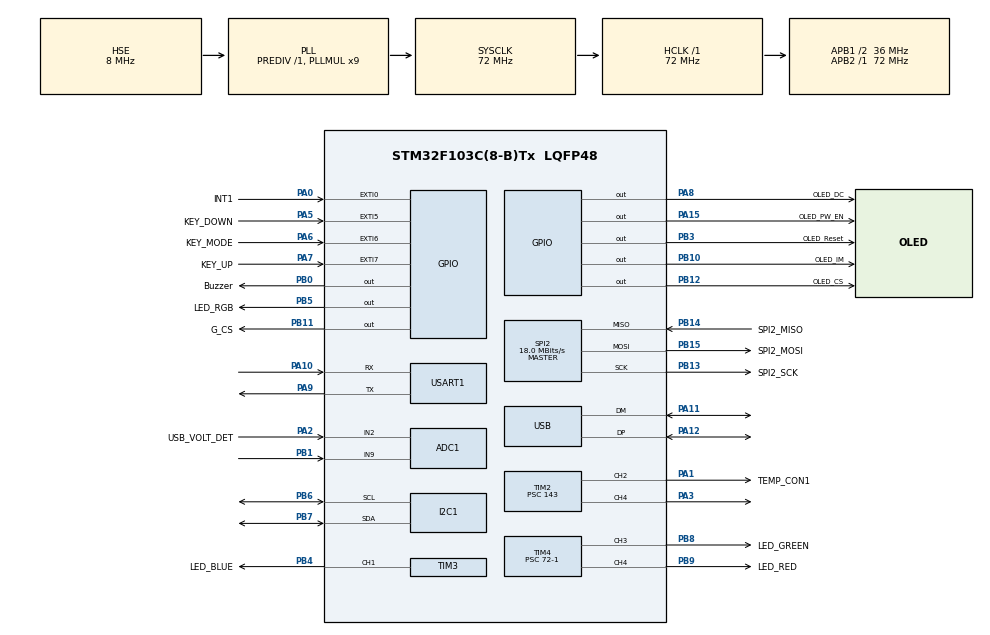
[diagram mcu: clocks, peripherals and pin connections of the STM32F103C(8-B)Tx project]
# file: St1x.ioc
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ADC1.Channel-0\#ChannelRegularConversion=ADC_CHANNEL_9
ADC1.Channel-1\#ChannelRegularConversion=ADC_CHANNEL_2
ADC1.ContinuousConvMode=DISABLE
ADC1.ExternalTrigConv=ADC_SOFTWARE_START
ADC1.NbrOfConversion=2
ADC1.NbrOfConversionFlag=1
ADC1.Rank-0\#ChannelRegularConversion=1
ADC1.Rank-1\#ChannelRegularConversion=2
ADC1.SamplingTime-0\#ChannelRegularConversion=ADC_SAMPLETIME_55CYCLES_5
ADC1.SamplingTime-1\#ChannelRegularConversion=ADC_SAMPLETIME_55CYCLES_5
ADC1.master=1
Dma.ADC1.0.Direction=DMA_PERIPH_TO_MEMORY
Dma.ADC1.0.Instance=DMA1_Channel1
Dma.ADC1.0.MemDataAlignment=DMA_MDATAALIGN_HALFWORD
Dma.ADC1.0.MemInc=DMA_MINC_ENABLE
Dma.ADC1.0.Mode=DMA_CIRCULAR
Dma.ADC1.0.PeriphDataAlignment=DMA_PDATAALIGN_HALFWORD
Dma.ADC1.0.PeriphInc=DMA_PINC_DISABLE
Dma.ADC1.0.Priority=DMA_PRIORITY_HIGH
Dma.I2C1_RX.3.Direction=DMA_PERIPH_TO_MEMORY
Dma.I2C1_RX.3.Instance=DMA1_Channel7
Dma.I2C1_RX.3.MemDataAlignment=DMA_MDATAALIGN_BYTE
Dma.I2C1_RX.3.MemInc=DMA_MINC_ENABLE
Dma.I2C1_RX.3.Mode=DMA_CIRCULAR
Dma.I2C1_RX.3.PeriphDataAlignment=DMA_PDATAALIGN_BYTE
Dma.I2C1_RX.3.PeriphInc=DMA_PINC_DISABLE
Dma.I2C1_RX.3.Priority=DMA_PRIORITY_LOW
Dma.Request0=ADC1
Dma.Request1=SPI2_TX
Dma.Request2=SPI2_RX
Dma.Request3=I2C1_RX
Dma.SPI2_RX.2.Direction=DMA_PERIPH_TO_MEMORY
Dma.SPI2_RX.2.Instance=DMA1_Channel4
Dma.SPI2_RX.2.MemDataAlignment=DMA_MDATAALIGN_BYTE
Dma.SPI2_RX.2.MemInc=DMA_MINC_ENABLE
Dma.SPI2_RX.2.Mode=DMA_NORMAL
Dma.SPI2_RX.2.PeriphDataAlignment=DMA_PDATAALIGN_BYTE
Dma.SPI2_RX.2.PeriphInc=DMA_PINC_DISABLE
Dma.SPI2_RX.2.Priority=DMA_PRIORITY_LOW
Dma.SPI2_TX.1.Direction=DMA_MEMORY_TO_PERIPH
Dma.SPI2_TX.1.Instance=DMA1_Channel5
Dma.SPI2_TX.1.MemDataAlignment=DMA_MDATAALIGN_BYTE
Dma.SPI2_TX.1.MemInc=DMA_MINC_ENABLE
Dma.SPI2_TX.1.Mode=DMA_NORMAL
Dma.SPI2_TX.1.PeriphDataAlignment=DMA_PDATAALIGN_BYTE
Dma.SPI2_TX.1.PeriphInc=DMA_PINC_DISABLE
Dma.SPI2_TX.1.Priority=DMA_PRIORITY_LOW
I2C1.I2C_Mode=I2C_Fast
Mcu.Family=STM32F1
Mcu.Name=STM32F103C(8-B)Tx
Mcu.Package=LQFP48
NVIC.ADC1_2_IRQn=true\:0\:0\:false\:false\:true\:true\:true\:true
NVIC.DMA1_Channel1_IRQn=true\:0\:0\:false\:false\:true\:false\:true\:true
NVIC.DMA1_Channel4_IRQn=true\:0\:0\:false\:false\:true\:false\:true\:true
NVIC.DMA1_Channel5_IRQn=true\:0\:0\:false\:false\:true\:false\:true\:true
NVIC.DMA1_Channel7_IRQn=true\:0\:0\:false\:false\:true\:false\:true\:true
NVIC.EXTI0_IRQn=true\:0\:0\:false\:false\:true\:true\:true\:true
NVIC.EXTI9_5_IRQn=true\:5\:0\:true\:false\:true\:true\:true\:true
NVIC.PriorityGroup=NVIC_PRIORITYGROUP_4
NVIC.TIM2_IRQn=true\:0\:0\:false\:false\:true\:true\:true\:true
PA0-WKUP.GPIO_Label=INT1
PA0-WKUP.GPIO_PuPd=GPIO_PULLUP
PA0-WKUP.Signal=GPXTI0
PA1.GPIO_Label=TEMP_CON1
PA1.GPIO_Speed=GPIO_SPEED_FREQ_HIGH
PA1.Signal=S_TIM2_CH2
PA10.Mode=Asynchronous
PA10.Signal=USART1_RX
PA11.Mode=Device
PA11.Signal=USB_DM
PA12.Mode=Device
PA12.Signal=USB_DP
PA13.Mode=Serial_Wire
PA13.Signal=SYS_JTMS-SWDIO
PA14.Mode=Serial_Wire
PA14.Signal=SYS_JTCK-SWCLK
PA15.GPIO_Label=OLED_PW_EN
PA15.PinState=GPIO_PIN_SET
PA15.Signal=GPIO_Output
PA2.GPIO_Label=USB_VOLT_DET
PA2.Signal=ADCx_IN2
PA3.Signal=S_TIM2_CH4
PA5.GPIO_Label=KEY_DOWN
PA5.GPIO_ModeDefaultEXTI=GPIO_MODE_IT_FALLING
PA5.GPIO_PuPd=GPIO_PULLUP
PA5.Signal=GPXTI5
PA6.GPIO_Label=KEY_MODE
PA6.GPIO_ModeDefaultEXTI=GPIO_MODE_IT_FALLING
PA6.GPIO_PuPd=GPIO_PULLUP
PA6.Signal=GPXTI6
PA7.GPIO_Label=KEY_UP
PA7.GPIO_ModeDefaultEXTI=GPIO_MODE_IT_FALLING
PA7.GPIO_PuPd=GPIO_PULLUP
PA7.Signal=GPXTI7
PA8.GPIO_Label=OLED_DC
PA8.GPIO_Speed=GPIO_SPEED_FREQ_HIGH
PA8.Signal=GPIO_Output
PA9.Mode=Asynchronous
PA9.Signal=USART1_TX
PB0.GPIO_Label=Buzzer
PB0.GPIO_Speed=GPIO_SPEED_FREQ_HIGH
PB0.Signal=GPIO_Output
PB1.Signal=ADCx_IN9
PB10.GPIO_Label=OLED_IM
PB10.Signal=GPIO_Output
PB11.GPIO_Label=G_CS
PB11.GPIO_PuPd=GPIO_NOPULL
PB11.GPIO_Speed=GPIO_SPEED_FREQ_HIGH
PB11.PinState=GPIO_PIN_SET
PB11.Signal=GPIO_Output
PB12.GPIO_Label=OLED_CS
PB12.GPIO_Speed=GPIO_SPEED_FREQ_HIGH
PB12.PinState=GPIO_PIN_SET
PB12.Signal=GPIO_Output
PB13.GPIO_Label=SPI2_SCK
PB13.Mode=Full_Duplex_Master
PB13.Signal=SPI2_SCK
PB14.GPIO_Label=SPI2_MISO
PB14.Mode=Full_Duplex_Master
PB14.Signal=SPI2_MISO
PB15.GPIO_Label=SPI2_MOSI
PB15.Mode=Full_Duplex_Master
PB15.Signal=SPI2_MOSI
PB3.GPIO_Label=OLED_Reset
PB3.PinState=GPIO_PIN_SET
PB3.Signal=GPIO_Output
PB4.GPIO_Label=LED_BLUE
PB4.GPIO_ModeDefaultPP=GPIO_MODE_AF_OD
PB4.GPIO_Speed=GPIO_SPEED_FREQ_HIGH
PB4.Signal=S_TIM3_CH1
PB5.GPIO_Label=LED_RGB
PB5.Signal=GPIO_Output
PB6.Mode=I2C
PB6.Signal=I2C1_SCL
PB7.Mode=I2C
PB7.Signal=I2C1_SDA
PB8.GPIO_Label=LED_GREEN
PB8.GPIO_ModeDefaultPP=GPIO_MODE_AF_OD
PB8.GPIO_Speed=GPIO_SPEED_FREQ_HIGH
PB8.Signal=S_TIM4_CH3
PB9.GPIO_Label=LED_RED
PB9.GPIO_ModeDefaultPP=GPIO_MODE_AF_OD
PB9.GPIO_Speed=GPIO_SPEED_FREQ_HIGH
PB9.Signal=S_TIM4_CH4
PD0-OSC_IN.Mode=HSE-External-Oscillator
PD0-OSC_IN.Signal=RCC_OSC_IN
PD1-OSC_OUT.Mode=HSE-External-Oscillator
PD1-OSC_OUT.Signal=RCC_OSC_OUT
ProjectManager.HeapSize=0x200
ProjectManager.StackSize=0x400
ProjectManager.TargetToolchain=STM32CubeIDE
RCC.ADCPresc=RCC_ADCPCLK2_DIV6
RCC.AHBFreq_Value=72000000
RCC.APB1CLKDivider=RCC_HCLK_DIV2
RCC.APB1Freq_Value=36000000
RCC.APB1TimFreq_Value=72000000
RCC.APB2Freq_Value=72000000
RCC.APB2TimFreq_Value=72000000
RCC.HCLKFreq_Value=72000000
RCC.PLLMUL=RCC_PLL_MUL9
RCC.PLLSourceVirtual=RCC_PLLSOURCE_HSE
RCC.SYSCLKFreq_VALUE=72000000
RCC.SYSCLKSource=RCC_SYSCLKSOURCE_PLLCLK
RCC.USBFreq_Value=48000000
RCC.USBPrescaler=RCC_USBCLKSOURCE_PLL_DIV1_5
SH.ADCx_IN2.0=ADC1_IN2,IN2
SH.ADCx_IN9.0=ADC1_IN9,IN9
SH.S_TIM2_CH2.0=TIM2_CH2,PWM Generation2 CH2
SH.S_TIM2_CH4.0=TIM2_CH4,PWM Generation4 CH4
SH.S_TIM3_CH1.0=TIM3_CH1,PWM Generation1 CH1
SH.S_TIM4_CH3.0=TIM4_CH3,PWM Generation3 CH3
SH.S_TIM4_CH4.0=TIM4_CH4,PWM Generation4 CH4
SPI2.BaudRatePrescaler=SPI_BAUDRATEPRESCALER_2
SPI2.CLKPolarity=SPI_POLARITY_LOW
SPI2.CalculateBaudRate=18.0 MBits/s
SPI2.Direction=SPI_DIRECTION_2LINES
SPI2.Mode=SPI_MODE_MASTER
SPI2.VirtualType=VM_MASTER
TIM2.Channel-PWM\ Generation2\ CH2=TIM_CHANNEL_2
TIM2.Channel-PWM\ Generation4\ CH4=TIM_CHANNEL_4
TIM2.OCMode_PWM-PWM\ Generation4\ CH4=TIM_OCMODE_PWM2
TIM2.Period=10000
TIM2.Prescaler=143
TIM2.Pulse-PWM\ Generation4\ CH4=9500
TIM2.TIM_MasterOutputTrigger=TIM_TRGO_RESET
TIM2.TIM_MasterSlaveMode=TIM_MASTERSLAVEMODE_DISABLE
TIM3.Channel-PWM\ Generation1\ CH1=TIM_CHANNEL_1
TIM3.OCMode_PWM-PWM\ Generation1\ CH1=TIM_OCMODE_PWM2
TIM3.OCPolarity_1=TIM_OCPOLARITY_HIGH
TIM3.Period=1500
TIM3.Prescaler=1
TIM3.Pulse-PWM\ Generation1\ CH1=0
TIM3.TIM_MasterOutputTrigger=TIM_TRGO_RESET
TIM3.TIM_MasterSlaveMode=TIM_MASTERSLAVEMODE_DISABLE
TIM4.Channel-PWM\ Generation3\ CH3=TIM_CHANNEL_3
TIM4.Channel-PWM\ Generation4\ CH4=TIM_CHANNEL_4
TIM4.OCMode_PWM-PWM\ Generation3\ CH3=TIM_OCMODE_PWM2
TIM4.OCMode_PWM-PWM\ Generation4\ CH4=TIM_OCMODE_PWM2
TIM4.Period=1000-1
TIM4.Prescaler=72-1
USART1.VirtualMode=VM_ASYNC
VP_TIM1_VS_ClockSourceINT.Mode=Internal
VP_TIM2_VS_ClockSourceINT.Mode=Internal
VP_TIM3_VS_ClockSourceINT.Mode=Internal
VP_TIM4_VS_ClockSourceINT.Mode=Internal
board=custom

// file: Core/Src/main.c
/* USER CODE BEGIN Header */
/**
  ******************************************************************************
  * @file           : main.c
  * @brief          : Main program body
  ******************************************************************************
  * @attention
  *
  * Copyright (c) 2023 STMicroelectronics.
  * All rights reserved.
  *
  * This software is licensed under terms that can be found in the LICENSE file
  * in the root directory of this software component.
  * If no LICENSE file comes with this software, it is provided AS-IS.
  *
  ******************************************************************************
  */
/* USER CODE END Header */
#include "main.h"
#include "adc.h"
#include "dma.h"
#include "i2c.h"
#include "spi.h"
#include "tim.h"
#include "usart.h"
#include "usb.h"
#include "gpio.h"

/* USER CODE BEGIN Includes */
#include "u8g2.h"
#include "u8g2_oled.h"
#include "St1xADC.h"
#include "bmp.h"
#include "lis2dw12.h"
#include "St1xPID.h"
#include "ws2812.h"
/* USER CODE END Includes */

/* USER CODE BEGIN PV */
// 定义u8g2全局变量
u8g2_t u8g2;
/* USER CODE END PV */

void SystemClock_Config(void);

/* USER CODE BEGIN 0 */
/*********开机时不让LED亮*********/
void LED_Init() {
    HAL_TIM_PWM_Start(&htim4, TIM_CHANNEL_3);
    HAL_TIM_PWM_Start(&htim4, TIM_CHANNEL_4);
    HAL_TIM_PWM_Start(&htim3, TIM_CHANNEL_1);
            __HAL_TIM_SetCompare(&htim4, TIM_CHANNEL_3, 0);//红色LED灯
            __HAL_TIM_SetCompare(&htim4, TIM_CHANNEL_4, 0);//绿色LED灯
            __HAL_TIM_SetCompare(&htim3, TIM_CHANNEL_1, 0);//蓝色LED灯
}

// 添加TIM2定时器中断回调函数
void HAL_TIM_PeriodElapsedCallback(TIM_HandleTypeDef *htim) {
    if (htim->Instance == TIM2) {
        heatingControlTimerCallback();  // 调用加热控制逻辑
    }
}

// 系统状态监控函数
void systemStatusMonitor(void) {
    static uint32_t last_status_check = 0;
    uint32_t current_time = HAL_GetTick();

    // 提高系统状态检查频率到每100ms一次，以确保安全
    if ((current_time - last_status_check) >= 100) {
        // 检查系统状态
        checkUSBVoltage();
        checkTemperatureSafety();
        last_status_check = current_time;
    }
}

// 声明外部变量
extern uint32_t initial_heating_end_time;
extern uint8_t heating_status;
/* USER CODE END 0 */

int main(void)
{

  /* MCU Configuration--------------------------------------------------------*/

  /* Reset of all peripherals, Initializes the Flash interface and the Systick. */
  HAL_Init();

  /* Configure the system clock */
  SystemClock_Config();

  /* Initialize all configured peripherals */
  MX_GPIO_Init();
  MX_DMA_Init();
  MX_ADC1_Init();
  MX_SPI2_Init();
  MX_TIM2_Init();
  MX_TIM3_Init();
  MX_USART1_UART_Init();
  MX_TIM4_Init();
  MX_TIM1_Init();
  MX_I2C1_Init();
  MX_USB_PCD_Init();
  /* USER CODE BEGIN 2 */

//    Reset_LED();          //复位RGB灯
    LED_Init();             //初始化RGB灯(防止初始化失败)
    spi_oled_Init(&u8g2);   //初始化OLED(SPI驱动)
    u8g2_DrawXBMP(&u8g2,0,0,128,80,Logo);   //显示开机LOGO
    u8g2_SendBuffer(&u8g2);
    HAL_Delay(1000);
    u8g2_ClearBuffer(&u8g2);

    HAL_ADCEx_Calibration_Start(&hadc1);  //ADC自动校准
    HAL_TIM_Base_Start_IT(&htim2);

//    lis2dw12_read_data_polling();
  /* USER CODE END 2 */

  /* Infinite loop */
while (1) {

    /* USER CODE BEGIN 3 */
    systemStatusMonitor();
    static uint32_t last_oled_update = 0;
    uint32_t current_time = HAL_GetTick();

    // 在初始加热阶段也更新OLED显示，以便显示加热状态
    // 提高OLED更新频率到每100ms一次，使显示更流畅
    if ((current_time - last_oled_update) >= 100) {
        drawOnOLED(&u8g2);
        last_oled_update = current_time;
    }

    // 减少主循环延时到1ms，提高系统整体响应速度
    HAL_Delay(1);
}
  /* USER CODE END 3 */
}

void SystemClock_Config(void)
{
  RCC_OscInitTypeDef RCC_OscInitStruct = {0};
  RCC_ClkInitTypeDef RCC_ClkInitStruct = {0};
  RCC_PeriphCLKInitTypeDef PeriphClkInit = {0};

  /** Initializes the RCC Oscillators according to the specified parameters
  * in the RCC_OscInitTypeDef structure.
  */
  RCC_OscInitStruct.OscillatorType = RCC_OSCILLATORTYPE_HSE;
  RCC_OscInitStruct.HSEState = RCC_HSE_ON;
  RCC_OscInitStruct.HSEPredivValue = RCC_HSE_PREDIV_DIV1;
  RCC_OscInitStruct.HSIState = RCC_HSI_ON;
  RCC_OscInitStruct.PLL.PLLState = RCC_PLL_ON;
  RCC_OscInitStruct.PLL.PLLSource = RCC_PLLSOURCE_HSE;
  RCC_OscInitStruct.PLL.PLLMUL = RCC_PLL_MUL9;
  if (HAL_RCC_OscConfig(&RCC_OscInitStruct) != HAL_OK)
  {
    Error_Handler();
  }

  /** Initializes the CPU, AHB and APB buses clocks
  */
  RCC_ClkInitStruct.ClockType = RCC_CLOCKTYPE_HCLK|RCC_CLOCKTYPE_SYSCLK
                              |RCC_CLOCKTYPE_PCLK1|RCC_CLOCKTYPE_PCLK2;
  RCC_ClkInitStruct.SYSCLKSource = RCC_SYSCLKSOURCE_PLLCLK;
  RCC_ClkInitStruct.AHBCLKDivider = RCC_SYSCLK_DIV1;
  RCC_ClkInitStruct.APB1CLKDivider = RCC_HCLK_DIV2;
  RCC_ClkInitStruct.APB2CLKDivider = RCC_HCLK_DIV1;

  if (HAL_RCC_ClockConfig(&RCC_ClkInitStruct, FLASH_LATENCY_2) != HAL_OK)
  {
    Error_Handler();
  }
  PeriphClkInit.PeriphClockSelection = RCC_PERIPHCLK_ADC|RCC_PERIPHCLK_USB;
  PeriphClkInit.AdcClockSelection = RCC_ADCPCLK2_DIV6;
  PeriphClkInit.UsbClockSelection = RCC_USBCLKSOURCE_PLL_DIV1_5;
  if (HAL_RCCEx_PeriphCLKConfig(&PeriphClkInit) != HAL_OK)
  {
    Error_Handler();
  }
}

void Error_Handler(void)
{
    __disable_irq();
    while (1) {
    }
}
